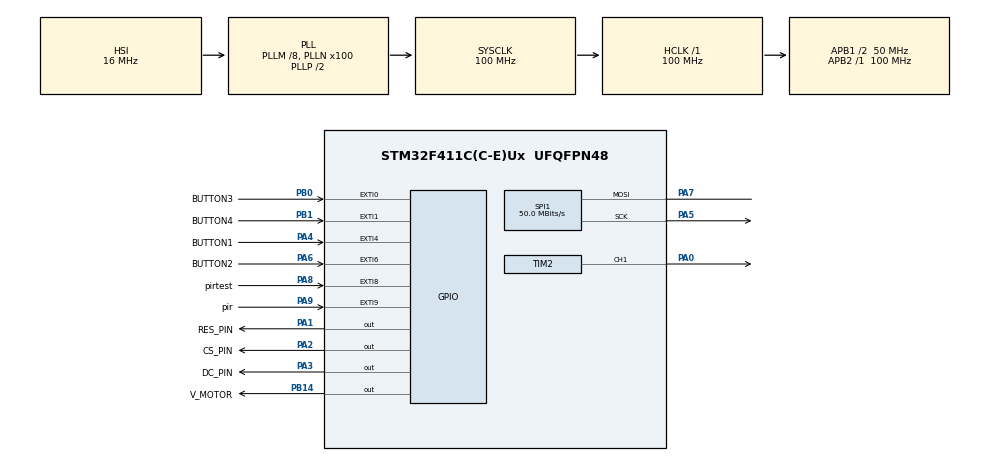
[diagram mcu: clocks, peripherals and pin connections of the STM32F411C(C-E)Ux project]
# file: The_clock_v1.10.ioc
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Mcu.Family=STM32F4
RCC.CortexFreq_Value=100000000
SPI1.VirtualType=VM_MASTER
PB14.GPIO_Label=V_MOTOR
VP_RTC_VS_RTC_Activate.Mode=RTC_Enabled
PA6.GPIO_Label=BUTTON2
PB0.GPIO_Label=BUTTON3
RCC.SYSCLKSource=RCC_SYSCLKSOURCE_PLLCLK
ProjectManager.StackSize=0x400
NVIC.EXTI1_IRQn=true\:0\:0\:false\:false\:true\:true\:true
RTC.StoreOperation=RTC_STOREOPERATION_SET
PH0\ -\ OSC_IN.Signal=RCC_OSC_IN
RCC.RCC_RTC_Clock_Source=RCC_RTCCLKSOURCE_LSE
SPI1.Direction=SPI_DIRECTION_1LINE
PB1.GPIO_PuPd=GPIO_PULLUP
RCC.HCLKFreq_Value=100000000
RCC.APB2TimFreq_Value=100000000
TIM3.Period=22888
SPI1.CalculateBaudRate=50.0 MBits/s
RCC.AHBFreq_Value=100000000
RCC.HSE_VALUE=25000000
PA4.GPIO_PuPd=GPIO_PULLUP
PA6.GPIO_PuPd=GPIO_PULLUP
PC14-OSC32_IN.Mode=LSE-External-Oscillator
PA14.Mode=Serial_Wire
TIM3.Prescaler=29999
PB1.GPIO_Label=BUTTON4
PA8.Signal=GPXTI8
TIM2.Channel-PWM\ Generation1\ CH1=TIM_CHANNEL_1
TIM4.Period=17
Mcu.Package=UFQFPN48
TIM2.Prescaler=768-1
PB1.Signal=GPXTI1
PA6.Signal=GPXTI6
PA8.GPIO_ModeDefaultEXTI=GPIO_MODE_IT_RISING_FALLING
PA2.GPIO_Label=CS_PIN
VP_RTC_VS_RTC_Calendar.Mode=RTC_Calendar
RCC.APB1TimFreq_Value=100000000
PA4.GPIO_Label=BUTTON1
VP_TIM3_VS_ClockSourceINT.Mode=Internal
PA3.Signal=GPIO_Output
PA5.Mode=Simplex_Bidirectional_Master
PC15-OSC32_OUT.Mode=LSE-External-Oscillator
NVIC.EXTI4_IRQn=true\:0\:0\:false\:false\:true\:true\:true
PA7.Mode=Simplex_Bidirectional_Master
PA9.GPIO_Label=pir
PH1\ -\ OSC_OUT.Mode=HSE-External-Oscillator
RCC.APB1CLKDivider=RCC_HCLK_DIV2
PC14-OSC32_IN.Signal=RCC_OSC32_IN
PA9.GPIO_PuPd=GPIO_PULLDOWN
PA0-WKUP.Signal=S_TIM2_CH1_ETR
PA13.Signal=SYS_JTMS-SWDIO
PH0\ -\ OSC_IN.Mode=HSE-External-Oscillator
PA8.GPIO_Label=pirtest
ProjectManager.TargetToolchain=STM32CubeIDE
PA9.Signal=GPXTI9
RTC.Format=RTC_FORMAT_BIN
TIM4.Prescaler=29999
PC15-OSC32_OUT.Signal=RCC_OSC32_OUT
PA1.Signal=GPIO_Output
PB14.Signal=GPIO_Output
PA5.Signal=SPI1_SCK
PH1\ -\ OSC_OUT.Signal=RCC_OSC_OUT
board=custom
RCC.VCOOutputFreq_Value=200000000
NVIC.TIM3_IRQn=true\:0\:0\:false\:false\:true\:true\:true
RCC.APB2Freq_Value=100000000
TIM4.ClockDivision=TIM_CLOCKDIVISION_DIV2
VP_TIM2_VS_ClockSourceINT.Mode=Internal
SPI1.Mode=SPI_MODE_MASTER
PA1.GPIO_Label=RES_PIN
RCC.RCC_RTC_Clock_SourceVirtual=RCC_RTCCLKSOURCE_LSE
TIM2.Period=255-1
PA13.Mode=Serial_Wire
Mcu.Name=STM32F411C(C-E)Ux
PA2.Signal=GPIO_Output
RCC.48MHZClocksFreq_Value=50000000
NVIC.EXTI0_IRQn=true\:0\:0\:false\:false\:true\:true\:true
PA4.Signal=GPXTI4
RCC.SYSCLKFreq_VALUE=100000000
SH.S_TIM2_CH1_ETR.0=TIM2_CH1,PWM Generation1 CH1
NVIC.EXTI9_5_IRQn=true\:0\:0\:false\:false\:true\:true\:true
PA14.Signal=SYS_JTCK-SWCLK
RTC.HourFormat=RTC_HOURFORMAT_12
ProjectManager.HeapSize=0x200
RCC.HSI_VALUE=16000000
PA8.GPIO_PuPd=GPIO_PULLDOWN
VP_TIM4_VS_ClockSourceINT.Mode=Internal
NVIC.PriorityGroup=NVIC_PRIORITYGROUP_4
RCC.PLLM=8
RCC.PLLN=100
PA9.GPIO_ModeDefaultEXTI=GPIO_MODE_IT_RISING_FALLING
NVIC.TIM4_IRQn=true\:0\:0\:false\:false\:true\:true\:true
RCC.APB1Freq_Value=50000000
PB0.Signal=GPXTI0
PB0.GPIO_PuPd=GPIO_PULLUP
PA3.GPIO_Label=DC_PIN
PA7.Signal=SPI1_MOSI

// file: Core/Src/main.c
/* USER CODE BEGIN Header */
/**
  ******************************************************************************
  * @file           : main.c
  * @brief          : Main program body
  ******************************************************************************
  * @attention
  *
  * <h2><center>&copy; Copyright (c) 2021 STMicroelectronics.
  * All rights reserved.</center></h2>
  *
  * This software component is licensed by ST under BSD 3-Clause license,
  * the "License"; You may not use this file except in compliance with the
  * License. You may obtain a copy of the License at:
  *                        opensource.org/licenses/BSD-3-Clause
  *
  ******************************************************************************
  */
/* USER CODE END Header */
#include "main.h"

/* USER CODE BEGIN Includes */
#include <string.h>
#include <stdio.h>
#include "page_clock.h"
#include "../clock/night_clock.h"
#include "../menu/menu_ui.h"
#include "variables.h"
#include "state_machine.h"
#include "ST7735.h"
#include "../lvgl/lvgl.h"
//#include "../lv_examples/lv_examples.h"
#include "../breath/breath_ui.h"
#include "../breath/test_navigation.h"
/* USER CODE END Includes */

/* USER CODE BEGIN PTD */

//extern uint8_t analog_flag;
//extern uint8_t menu_flag;
//extern lv_obj_t *scr3;

static lv_disp_buf_t disp_buf;
static lv_color_t buf[LV_HOR_RES_MAX * 128];
//RTC_HandleTypeDef hrtc;
RTC_TimeTypeDef sTime;
RTC_DateTypeDef sDate;
uint8_t processButtonFlag = 0;
uint8_t button_flag = 0;
uint8_t button_timer_flag = 0;
uint8_t movement_detection_flag = 0;
uint8_t var = 0;
uint8_t var2 = 0;
uint8_t screen_on_timeout = 0;
/* USER CODE END PTD */

RTC_HandleTypeDef hrtc;

SPI_HandleTypeDef hspi1;

TIM_HandleTypeDef htim2;
TIM_HandleTypeDef htim3;
TIM_HandleTypeDef htim4;

void SystemClock_Config(void);
static void MX_GPIO_Init(void);
static void MX_RTC_Init(void);
static void MX_SPI1_Init(void);
static void MX_TIM2_Init(void);
static void MX_TIM3_Init(void);
static void MX_TIM4_Init(void);

/* USER CODE BEGIN 0 */
void startup_sequence() {
	uint8_t current_hour;
	uint32_t total_time;

	HAL_RTC_GetTime(&hrtc, &sTime,RTC_FORMAT_BIN);
	if (sTime.TimeFormat == RTC_HOURFORMAT12_PM) {
		if (sTime.Hours != 12 ) {
			current_hour = sTime.Hours + 12;
			total_time = (current_hour * 60 * 60) + (sTime.Minutes * 60) + (sTime.Seconds);
			if ((total_time >= 82800) || (total_time <= 25200)) {
				brightness_val = 11;
				Set_Brightness(brightness_val);
			}
			else {
				brightness_val = 255;
				Set_Brightness(brightness_val);
			}
		}
		else {
			brightness_val = 255;
			Set_Brightness(brightness_val);

		}
	}

		else {
			if(sTime.Hours == 12) {
				current_hour = 0;
			}
			else {
				current_hour = sTime.Hours;
			}

			total_time = (current_hour * 60 * 60) + (sTime.Minutes * 60) + (sTime.Seconds);
			if (total_time >= 25200) {
				brightness_val = 255;
				Set_Brightness(brightness_val);
			}
			else {
				brightness_val = 17;
				Set_Brightness(brightness_val);
			}
		}

	analog();
	create_setting_menu();
	create_pomedora_menu();
	update_breathing();
	opn_setting_menu();
}

void my_disp_flush(lv_disp_drv_t *disp, const lv_area_t *area, lv_color_t *color_p)
{

	uint16_t w = (area->x2 - area->x1 + 1);
    uint16_t h = (area->y2 - area->y1 + 1);

    ST7735_Select();
    ST7735_SetAddressWindow(area->x1, area->y1, area->x2, area->y2);
    ST7735_WriteData((uint8_t*)color_p, sizeof(uint16_t)*w*h);
    lv_disp_flush_ready(disp);
}

void set_time(){
	  RTC_TimeTypeDef sTime = {0};
	  RTC_DateTypeDef sDate = {0};
	 /** Initialize RTC and set the Time and Date
	  */
	  sTime.Hours = 7;
	  sTime.Minutes = 55;
	  sTime.Seconds = 0;
	  sTime.TimeFormat = RTC_HOURFORMAT12_PM;
	  sTime.DayLightSaving = RTC_DAYLIGHTSAVING_NONE;
	  sTime.StoreOperation = RTC_STOREOPERATION_SET;
	  if (HAL_RTC_SetTime(&hrtc, &sTime, RTC_FORMAT_BIN) != HAL_OK)
	  {
	    Error_Handler();
	  }
	  sDate.WeekDay = RTC_WEEKDAY_THURSDAY;
	  sDate.Month = RTC_MONTH_APRIL;
	  sDate.Date = 1;
	  sDate.Year = 21;

	  if (HAL_RTC_SetDate(&hrtc, &sDate, RTC_FORMAT_BIN) != HAL_OK)
	  {
	    Error_Handler();
	  }
	  HAL_PWR_EnableBkUpAccess();
	  HAL_RTCEx_BKUPWrite(&hrtc, RTC_BKP_DR0, 0xA5F0A5F0); // backup register

}

/* USER CODE END 0 */

int main(void)
{

  /* MCU Configuration--------------------------------------------------------*/

  /* Reset of all peripherals, Initializes the Flash interface and the Systick. */
  HAL_Init();

  /* Configure the system clock */
  SystemClock_Config();

  /* Initialize all configured peripherals */
  MX_GPIO_Init();
  MX_RTC_Init();
  MX_SPI1_Init();
  MX_TIM2_Init();
  MX_TIM3_Init();
  MX_TIM4_Init();
  /* USER CODE BEGIN 2 */

  if(HAL_RTCEx_BKUPRead(&hrtc, RTC_BKP_DR0)!= 0xA5F0A5F0) {
	  set_time();
  }

  ST7735_Init();
  lv_init();
  lv_disp_buf_init(&disp_buf, buf, NULL, LV_HOR_RES_MAX * 128);

   /*Initialize the display*/
   lv_disp_drv_t disp_drv;
   lv_disp_drv_init(&disp_drv);
   disp_drv.hor_res = 128;
   disp_drv.ver_res = 128;
   disp_drv.flush_cb = my_disp_flush;
   disp_drv.buffer = &disp_buf;
   lv_disp_drv_register(&disp_drv);
   HAL_Delay(25);

   HAL_TIM_PWM_Start(&htim2,TIM_CHANNEL_1);
   startup_sequence();
//   Set_Brightness(20);
   launch_analog_clock();

  /* USER CODE END 2 */

  /* Infinite loop */
  while (1)
  {
	  processTasks();
	  HAL_Delay(1);
	  lv_task_handler();
  }
}

void SystemClock_Config(void)
{
  RCC_OscInitTypeDef RCC_OscInitStruct = {0};
  RCC_ClkInitTypeDef RCC_ClkInitStruct = {0};
  RCC_PeriphCLKInitTypeDef PeriphClkInitStruct = {0};

  /** Configure the main internal regulator output voltage
  */
  __HAL_RCC_PWR_CLK_ENABLE();
  __HAL_PWR_VOLTAGESCALING_CONFIG(PWR_REGULATOR_VOLTAGE_SCALE1);
  /** Initializes the RCC Oscillators according to the specified parameters
  * in the RCC_OscInitTypeDef structure.
  */
  RCC_OscInitStruct.OscillatorType = RCC_OSCILLATORTYPE_HSI|RCC_OSCILLATORTYPE_LSE;
  RCC_OscInitStruct.LSEState = RCC_LSE_ON;
  RCC_OscInitStruct.HSIState = RCC_HSI_ON;
  RCC_OscInitStruct.HSICalibrationValue = RCC_HSICALIBRATION_DEFAULT;
  RCC_OscInitStruct.PLL.PLLState = RCC_PLL_ON;
  RCC_OscInitStruct.PLL.PLLSource = RCC_PLLSOURCE_HSI;
  RCC_OscInitStruct.PLL.PLLM = 8;
  RCC_OscInitStruct.PLL.PLLN = 100;
  RCC_OscInitStruct.PLL.PLLP = RCC_PLLP_DIV2;
  RCC_OscInitStruct.PLL.PLLQ = 4;
  if (HAL_RCC_OscConfig(&RCC_OscInitStruct) != HAL_OK)
  {
    Error_Handler();
  }
  /** Initializes the CPU, AHB and APB buses clocks
  */
  RCC_ClkInitStruct.ClockType = RCC_CLOCKTYPE_HCLK|RCC_CLOCKTYPE_SYSCLK
                              |RCC_CLOCKTYPE_PCLK1|RCC_CLOCKTYPE_PCLK2;
  RCC_ClkInitStruct.SYSCLKSource = RCC_SYSCLKSOURCE_PLLCLK;
  RCC_ClkInitStruct.AHBCLKDivider = RCC_SYSCLK_DIV1;
  RCC_ClkInitStruct.APB1CLKDivider = RCC_HCLK_DIV2;
  RCC_ClkInitStruct.APB2CLKDivider = RCC_HCLK_DIV1;

  if (HAL_RCC_ClockConfig(&RCC_ClkInitStruct, FLASH_LATENCY_3) != HAL_OK)
  {
    Error_Handler();
  }
  PeriphClkInitStruct.PeriphClockSelection = RCC_PERIPHCLK_RTC;
  PeriphClkInitStruct.RTCClockSelection = RCC_RTCCLKSOURCE_LSE;
  if (HAL_RCCEx_PeriphCLKConfig(&PeriphClkInitStruct) != HAL_OK)
  {
    Error_Handler();
  }
}

static void MX_RTC_Init(void)
{

 // RTC_TimeTypeDef sTime = {0};
 // RTC_DateTypeDef sDate = {0};

  /** Initialize RTC Only
  */
  hrtc.Instance = RTC;
  hrtc.Init.HourFormat = RTC_HOURFORMAT_12;
  hrtc.Init.AsynchPrediv = 127;
  hrtc.Init.SynchPrediv = 255;
  hrtc.Init.OutPut = RTC_OUTPUT_DISABLE;
  hrtc.Init.OutPutPolarity = RTC_OUTPUT_POLARITY_HIGH;
  hrtc.Init.OutPutType = RTC_OUTPUT_TYPE_OPENDRAIN;
  if (HAL_RTC_Init(&hrtc) != HAL_OK)
  {
    Error_Handler();
  }

}

static void MX_SPI1_Init(void)
{

  /* SPI1 parameter configuration*/
  hspi1.Instance = SPI1;
  hspi1.Init.Mode = SPI_MODE_MASTER;
  hspi1.Init.Direction = SPI_DIRECTION_1LINE;
  hspi1.Init.DataSize = SPI_DATASIZE_8BIT;
  hspi1.Init.CLKPolarity = SPI_POLARITY_LOW;
  hspi1.Init.CLKPhase = SPI_PHASE_1EDGE;
  hspi1.Init.NSS = SPI_NSS_SOFT;
  hspi1.Init.BaudRatePrescaler = SPI_BAUDRATEPRESCALER_2;
  hspi1.Init.FirstBit = SPI_FIRSTBIT_MSB;
  hspi1.Init.TIMode = SPI_TIMODE_DISABLE;
  hspi1.Init.CRCCalculation = SPI_CRCCALCULATION_DISABLE;
  hspi1.Init.CRCPolynomial = 10;
  if (HAL_SPI_Init(&hspi1) != HAL_OK)
  {
    Error_Handler();
  }

}

static void MX_TIM2_Init(void)
{

  TIM_ClockConfigTypeDef sClockSourceConfig = {0};
  TIM_MasterConfigTypeDef sMasterConfig = {0};
  TIM_OC_InitTypeDef sConfigOC = {0};

  htim2.Instance = TIM2;
  htim2.Init.Prescaler = 768-1;
  htim2.Init.CounterMode = TIM_COUNTERMODE_UP;
  htim2.Init.Period = 255-1;
  htim2.Init.ClockDivision = TIM_CLOCKDIVISION_DIV1;
  htim2.Init.AutoReloadPreload = TIM_AUTORELOAD_PRELOAD_DISABLE;
  if (HAL_TIM_Base_Init(&htim2) != HAL_OK)
  {
    Error_Handler();
  }
  sClockSourceConfig.ClockSource = TIM_CLOCKSOURCE_INTERNAL;
  if (HAL_TIM_ConfigClockSource(&htim2, &sClockSourceConfig) != HAL_OK)
  {
    Error_Handler();
  }
  if (HAL_TIM_PWM_Init(&htim2) != HAL_OK)
  {
    Error_Handler();
  }
  sMasterConfig.MasterOutputTrigger = TIM_TRGO_RESET;
  sMasterConfig.MasterSlaveMode = TIM_MASTERSLAVEMODE_DISABLE;
  if (HAL_TIMEx_MasterConfigSynchronization(&htim2, &sMasterConfig) != HAL_OK)
  {
    Error_Handler();
  }
  sConfigOC.OCMode = TIM_OCMODE_PWM1;
  sConfigOC.Pulse = 0;
  sConfigOC.OCPolarity = TIM_OCPOLARITY_HIGH;
  sConfigOC.OCFastMode = TIM_OCFAST_DISABLE;
  if (HAL_TIM_PWM_ConfigChannel(&htim2, &sConfigOC, TIM_CHANNEL_1) != HAL_OK)
  {
    Error_Handler();
  }
  HAL_TIM_MspPostInit(&htim2);

}

static void MX_TIM3_Init(void)
{

  TIM_ClockConfigTypeDef sClockSourceConfig = {0};
  TIM_MasterConfigTypeDef sMasterConfig = {0};

  htim3.Instance = TIM3;
  htim3.Init.Prescaler = 29999;
  htim3.Init.CounterMode = TIM_COUNTERMODE_UP;
  htim3.Init.Period = 22888;
  htim3.Init.ClockDivision = TIM_CLOCKDIVISION_DIV1;
  htim3.Init.AutoReloadPreload = TIM_AUTORELOAD_PRELOAD_DISABLE;
  if (HAL_TIM_Base_Init(&htim3) != HAL_OK)
  {
    Error_Handler();
  }
  sClockSourceConfig.ClockSource = TIM_CLOCKSOURCE_INTERNAL;
  if (HAL_TIM_ConfigClockSource(&htim3, &sClockSourceConfig) != HAL_OK)
  {
    Error_Handler();
  }
  sMasterConfig.MasterOutputTrigger = TIM_TRGO_RESET;
  sMasterConfig.MasterSlaveMode = TIM_MASTERSLAVEMODE_DISABLE;
  if (HAL_TIMEx_MasterConfigSynchronization(&htim3, &sMasterConfig) != HAL_OK)
  {
    Error_Handler();
  }

}

static void MX_TIM4_Init(void)
{

  TIM_ClockConfigTypeDef sClockSourceConfig = {0};
  TIM_MasterConfigTypeDef sMasterConfig = {0};

  htim4.Instance = TIM4;
  htim4.Init.Prescaler = 29999;
  htim4.Init.CounterMode = TIM_COUNTERMODE_UP;
  htim4.Init.Period = 17;
  htim4.Init.ClockDivision = TIM_CLOCKDIVISION_DIV2;
  htim4.Init.AutoReloadPreload = TIM_AUTORELOAD_PRELOAD_DISABLE;
  if (HAL_TIM_Base_Init(&htim4) != HAL_OK)
  {
    Error_Handler();
  }
  sClockSourceConfig.ClockSource = TIM_CLOCKSOURCE_INTERNAL;
  if (HAL_TIM_ConfigClockSource(&htim4, &sClockSourceConfig) != HAL_OK)
  {
    Error_Handler();
  }
  sMasterConfig.MasterOutputTrigger = TIM_TRGO_RESET;
  sMasterConfig.MasterSlaveMode = TIM_MASTERSLAVEMODE_DISABLE;
  if (HAL_TIMEx_MasterConfigSynchronization(&htim4, &sMasterConfig) != HAL_OK)
  {
    Error_Handler();
  }

}

static void MX_GPIO_Init(void)
{
  GPIO_InitTypeDef GPIO_InitStruct = {0};

  /* GPIO Ports Clock Enable */
  __HAL_RCC_GPIOC_CLK_ENABLE();
  __HAL_RCC_GPIOH_CLK_ENABLE();
  __HAL_RCC_GPIOA_CLK_ENABLE();
  __HAL_RCC_GPIOB_CLK_ENABLE();

  /*Configure GPIO pin Output Level */
  HAL_GPIO_WritePin(GPIOA, RES_PIN_Pin|CS_PIN_Pin|DC_PIN_Pin, GPIO_PIN_RESET);

  /*Configure GPIO pin Output Level */
  HAL_GPIO_WritePin(V_MOTOR_GPIO_Port, V_MOTOR_Pin, GPIO_PIN_RESET);

  /*Configure GPIO pins : RES_PIN_Pin CS_PIN_Pin DC_PIN_Pin */
  GPIO_InitStruct.Pin = RES_PIN_Pin|CS_PIN_Pin|DC_PIN_Pin;
  GPIO_InitStruct.Mode = GPIO_MODE_OUTPUT_PP;
  GPIO_InitStruct.Pull = GPIO_NOPULL;
  GPIO_InitStruct.Speed = GPIO_SPEED_FREQ_LOW;
  HAL_GPIO_Init(GPIOA, &GPIO_InitStruct);

  /*Configure GPIO pins : BUTTON1_Pin BUTTON2_Pin */
  GPIO_InitStruct.Pin = BUTTON1_Pin|BUTTON2_Pin;
  GPIO_InitStruct.Mode = GPIO_MODE_IT_RISING;
  GPIO_InitStruct.Pull = GPIO_PULLUP;
  HAL_GPIO_Init(GPIOA, &GPIO_InitStruct);

  /*Configure GPIO pins : BUTTON3_Pin BUTTON4_Pin */
  GPIO_InitStruct.Pin = BUTTON3_Pin|BUTTON4_Pin;
  GPIO_InitStruct.Mode = GPIO_MODE_IT_RISING;
  GPIO_InitStruct.Pull = GPIO_PULLUP;
  HAL_GPIO_Init(GPIOB, &GPIO_InitStruct);

  /*Configure GPIO pin : V_MOTOR_Pin */
  GPIO_InitStruct.Pin = V_MOTOR_Pin;
  GPIO_InitStruct.Mode = GPIO_MODE_OUTPUT_PP;
  GPIO_InitStruct.Pull = GPIO_NOPULL;
  GPIO_InitStruct.Speed = GPIO_SPEED_FREQ_LOW;
  HAL_GPIO_Init(V_MOTOR_GPIO_Port, &GPIO_InitStruct);

  /*Configure GPIO pins : pirtest_Pin pir_Pin */
  GPIO_InitStruct.Pin = pirtest_Pin|pir_Pin;
  GPIO_InitStruct.Mode = GPIO_MODE_IT_RISING_FALLING;
  GPIO_InitStruct.Pull = GPIO_PULLDOWN;
  HAL_GPIO_Init(GPIOA, &GPIO_InitStruct);

  /* EXTI interrupt init*/
  HAL_NVIC_SetPriority(EXTI0_IRQn, 0, 0);
  HAL_NVIC_EnableIRQ(EXTI0_IRQn);

  HAL_NVIC_SetPriority(EXTI1_IRQn, 0, 0);
  HAL_NVIC_EnableIRQ(EXTI1_IRQn);

  HAL_NVIC_SetPriority(EXTI4_IRQn, 0, 0);
  HAL_NVIC_EnableIRQ(EXTI4_IRQn);

  HAL_NVIC_SetPriority(EXTI9_5_IRQn, 0, 0);
  HAL_NVIC_EnableIRQ(EXTI9_5_IRQn);

}

/* USER CODE BEGIN 4 */
void HAL_GPIO_EXTI_Callback(uint16_t GPIO_Pin)
{
	if(button_timer_flag == 0) {
	HAL_TIM_Base_Start_IT(&htim4);
	}

	if(button_flag == 1) {
		HAL_TIM_Base_Stop_IT(&htim4);
		button_timer_flag = 0;
		button_flag = 0;

		if (GPIO_Pin == BUTTON1_Pin)
		{
			processButtonFlag = 1;
			button_register.upButton = 1;
		}
		else if (GPIO_Pin == BUTTON2_Pin)
		{
			processButtonFlag = 1;
			button_register.downButton = 1;
		}
		else if (GPIO_Pin == BUTTON3_Pin)
		{
			processButtonFlag = 1;
			button_register.selectButton = 1;
		}
		else if (GPIO_Pin == BUTTON4_Pin)
		{

			processButtonFlag = 1;
			button_register.navigationButton = 1;

		}
//		else if (GPIO_Pin == pir_Pin)
//		{
//			movement_detection_flag = 1;
//
//		}
    }
}

void HAL_TIM_PeriodElapsedCallback(TIM_HandleTypeDef *htim) {

	if(htim -> Instance == TIM3){
		++var2;
		if (var2 == 6) {
			var2 = 0;
//			screen_on_timeout = 1;
//			update_time_nightmode();

		}

	}
	else if(htim -> Instance == TIM4){    //button timer 10ms
		++var;
		if (var == 4) {
			var = 0;
			button_flag = 1;
			button_timer_flag = 1;
		}
	}

}
/* USER CODE END 4 */

void Error_Handler(void)
{
  __disable_irq();
  while (1)
  {
  }
}

/************************ (C) COPYRIGHT STMicroelectronics *****END OF FILE****/
